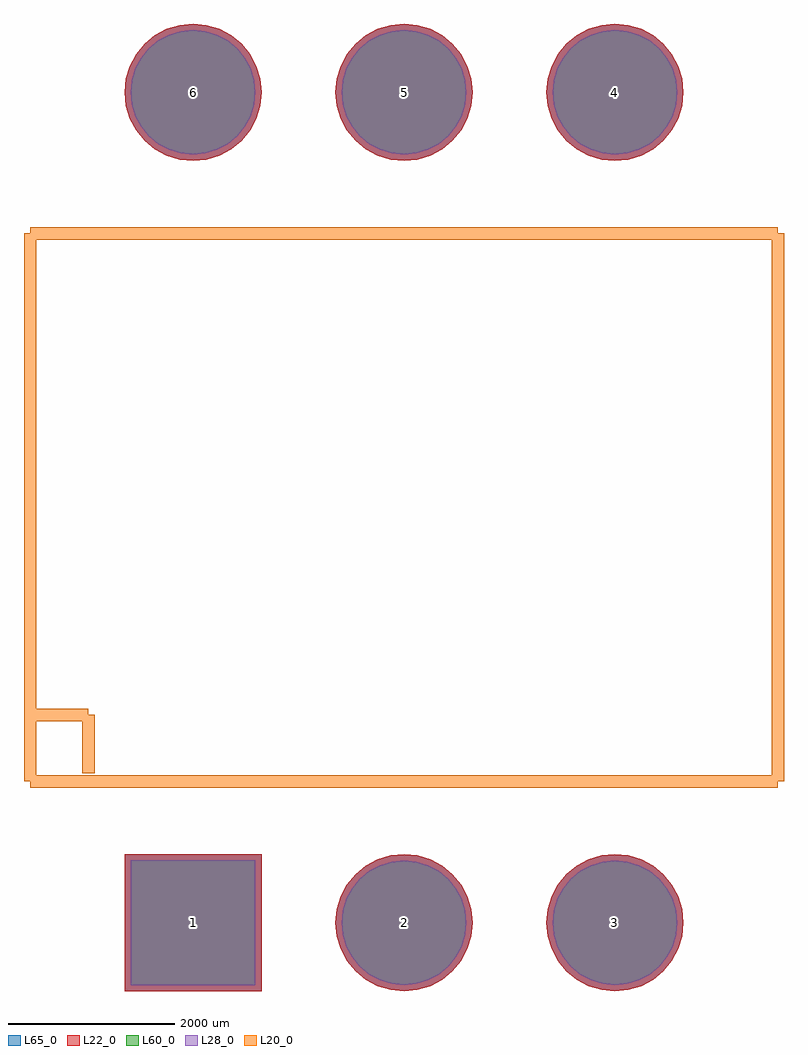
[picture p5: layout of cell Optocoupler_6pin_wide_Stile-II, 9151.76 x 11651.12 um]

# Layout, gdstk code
import gdstk
lib = gdstk.Library(unit=1e-6, precision=1e-09)
def R(c, l, rs):  # rectangles x0, y0, x1, y1
    for r in rs: c.add(gdstk.rectangle(r[:2], r[2:], *l))
def P(c, l, *ps):  # polygons
    for p in ps: c.add(gdstk.Polygon(p, *l))
L20_0 = (20, 0)
L22_0 = (22, 0)
L28_0 = (28, 0)
L60_0 = (60, 0)
L65_0 = (65, 0)

optocoupler_6pin_wide_st = lib.new_cell('Optocoupler_6pin_wide_Stile-II')
R(optocoupler_6pin_wide_st, L22_0, [(-3365.57,-5826.83,-1714.43,-4175.69)])
P(optocoupler_6pin_wide_st, L22_0, [(-1714.43,4998.72),(-1730.293,5159.781),(-1777.273,5314.652),(-1853.564,5457.382),(-1956.234,5582.486),(-2081.338,5685.156),(-2224.068,5761.447),(-2378.939,5808.427),(-2540,5824.29),(-2701.061,5808.427),(-2855.932,5761.447),(-2998.662,5685.156),(-3123.766,5582.486),(-3226.436,5457.382),(-3302.727,5314.652),(-3349.707,5159.781),(-3365.57,4998.72),(-3349.707,4837.659),(-3302.727,4682.788),(-3226.436,4540.058),(-3123.766,4414.954),(-2998.662,4312.284),(-2855.932,4235.993),(-2701.061,4189.013),(-2540,4173.15),(-2378.939,4189.013),(-2224.068,4235.993),(-2081.338,4312.284),(-1956.234,4414.954),(-1853.564,4540.058),(-1777.273,4682.788),(-1730.293,4837.659)],
  [(825.57,4998.72),(809.707,5159.781),(762.727,5314.652),(686.436,5457.382),(583.766,5582.486),(458.662,5685.156),(315.932,5761.447),(161.061,5808.427),(0,5824.29),(-161.061,5808.427),(-315.932,5761.447),(-458.662,5685.156),(-583.766,5582.486),(-686.436,5457.382),(-762.727,5314.652),(-809.707,5159.781),(-825.57,4998.72),(-809.707,4837.659),(-762.727,4682.788),(-686.436,4540.058),(-583.766,4414.954),(-458.662,4312.284),(-315.932,4235.993),(-161.061,4189.013),(0,4173.15),(161.061,4189.013),(315.932,4235.993),(458.662,4312.284),(583.766,4414.954),(686.436,4540.058),(762.727,4682.788),(809.707,4837.659)],
  [(3365.57,4998.72),(3349.707,5159.781),(3302.727,5314.652),(3226.436,5457.382),(3123.766,5582.486),(2998.662,5685.156),(2855.932,5761.447),(2701.061,5808.427),(2540,5824.29),(2378.939,5808.427),(2224.068,5761.447),(2081.338,5685.156),(1956.234,5582.486),(1853.564,5457.382),(1777.273,5314.652),(1730.293,5159.781),(1714.43,4998.72),(1730.293,4837.659),(1777.273,4682.788),(1853.564,4540.058),(1956.234,4414.954),(2081.338,4312.284),(2224.068,4235.993),(2378.939,4189.013),(2540,4173.15),(2701.061,4189.013),(2855.932,4235.993),(2998.662,4312.284),(3123.766,4414.954),(3226.436,4540.058),(3302.727,4682.788),(3349.707,4837.659)],
  [(3365.57,-5001.26),(3349.707,-4840.199),(3302.727,-4685.328),(3226.436,-4542.598),(3123.766,-4417.494),(2998.662,-4314.824),(2855.932,-4238.533),(2701.061,-4191.553),(2540,-4175.69),(2378.939,-4191.553),(2224.068,-4238.533),(2081.338,-4314.824),(1956.234,-4417.494),(1853.564,-4542.598),(1777.273,-4685.328),(1730.293,-4840.199),(1714.43,-5001.26),(1730.293,-5162.321),(1777.273,-5317.192),(1853.564,-5459.922),(1956.234,-5585.026),(2081.338,-5687.696),(2224.068,-5763.987),(2378.939,-5810.967),(2540,-5826.83),(2701.061,-5810.967),(2855.932,-5763.987),(2998.662,-5687.696),(3123.766,-5585.026),(3226.436,-5459.922),(3302.727,-5317.192),(3349.707,-5162.321)],
  [(825.57,-5001.26),(809.707,-4840.199),(762.727,-4685.328),(686.436,-4542.598),(583.766,-4417.494),(458.662,-4314.824),(315.932,-4238.533),(161.061,-4191.553),(0,-4175.69),(-161.061,-4191.553),(-315.932,-4238.533),(-458.662,-4314.824),(-583.766,-4417.494),(-686.436,-4542.598),(-762.727,-4685.328),(-809.707,-4840.199),(-825.57,-5001.26),(-809.707,-5162.321),(-762.727,-5317.192),(-686.436,-5459.922),(-583.766,-5585.026),(-458.662,-5687.696),(-315.932,-5763.987),(-161.061,-5810.967),(0,-5826.83),(161.061,-5810.967),(315.932,-5763.987),(458.662,-5687.696),(583.766,-5585.026),(686.436,-5459.922),(762.727,-5317.192),(809.707,-5162.321)])
R(optocoupler_6pin_wide_st, L28_0, [(-3290.57,-5751.83,-1789.43,-4250.69)])
P(optocoupler_6pin_wide_st, L28_0, [(-1789.43,4998.72),(-1803.852,5145.149),(-1846.564,5285.951),(-1915.924,5415.714),(-2009.267,5529.453),(-2123.006,5622.796),(-2252.769,5692.156),(-2393.571,5734.868),(-2540,5749.29),(-2686.429,5734.868),(-2827.231,5692.156),(-2956.994,5622.796),(-3070.733,5529.453),(-3164.076,5415.714),(-3233.436,5285.951),(-3276.148,5145.149),(-3290.57,4998.72),(-3276.148,4852.291),(-3233.436,4711.489),(-3164.076,4581.726),(-3070.733,4467.987),(-2956.994,4374.644),(-2827.231,4305.284),(-2686.429,4262.572),(-2540,4248.15),(-2393.571,4262.572),(-2252.769,4305.284),(-2123.006,4374.644),(-2009.267,4467.987),(-1915.924,4581.726),(-1846.564,4711.489),(-1803.852,4852.291)],
  [(750.57,4998.72),(736.148,5145.149),(693.436,5285.951),(624.076,5415.714),(530.733,5529.453),(416.994,5622.796),(287.231,5692.156),(146.429,5734.868),(0,5749.29),(-146.429,5734.868),(-287.231,5692.156),(-416.994,5622.796),(-530.733,5529.453),(-624.076,5415.714),(-693.436,5285.951),(-736.148,5145.149),(-750.57,4998.72),(-736.148,4852.291),(-693.436,4711.489),(-624.076,4581.726),(-530.733,4467.987),(-416.994,4374.644),(-287.231,4305.284),(-146.429,4262.572),(0,4248.15),(146.429,4262.572),(287.231,4305.284),(416.994,4374.644),(530.733,4467.987),(624.076,4581.726),(693.436,4711.489),(736.148,4852.291)],
  [(3290.57,4998.72),(3276.148,5145.149),(3233.436,5285.951),(3164.076,5415.714),(3070.733,5529.453),(2956.994,5622.796),(2827.231,5692.156),(2686.429,5734.868),(2540,5749.29),(2393.571,5734.868),(2252.769,5692.156),(2123.006,5622.796),(2009.267,5529.453),(1915.924,5415.714),(1846.564,5285.951),(1803.852,5145.149),(1789.43,4998.72),(1803.852,4852.291),(1846.564,4711.489),(1915.924,4581.726),(2009.267,4467.987),(2123.006,4374.644),(2252.769,4305.284),(2393.571,4262.572),(2540,4248.15),(2686.429,4262.572),(2827.231,4305.284),(2956.994,4374.644),(3070.733,4467.987),(3164.076,4581.726),(3233.436,4711.489),(3276.148,4852.291)],
  [(3290.57,-5001.26),(3276.148,-4854.831),(3233.436,-4714.029),(3164.076,-4584.266),(3070.733,-4470.527),(2956.994,-4377.184),(2827.231,-4307.824),(2686.429,-4265.112),(2540,-4250.69),(2393.571,-4265.112),(2252.769,-4307.824),(2123.006,-4377.184),(2009.267,-4470.527),(1915.924,-4584.266),(1846.564,-4714.029),(1803.852,-4854.831),(1789.43,-5001.26),(1803.852,-5147.689),(1846.564,-5288.491),(1915.924,-5418.254),(2009.267,-5531.993),(2123.006,-5625.336),(2252.769,-5694.696),(2393.571,-5737.408),(2540,-5751.83),(2686.429,-5737.408),(2827.231,-5694.696),(2956.994,-5625.336),(3070.733,-5531.993),(3164.076,-5418.254),(3233.436,-5288.491),(3276.148,-5147.689)],
  [(750.57,-5001.26),(736.148,-4854.831),(693.436,-4714.029),(624.076,-4584.266),(530.733,-4470.527),(416.994,-4377.184),(287.231,-4307.824),(146.429,-4265.112),(0,-4250.69),(-146.429,-4265.112),(-287.231,-4307.824),(-416.994,-4377.184),(-530.733,-4470.527),(-624.076,-4584.266),(-693.436,-4714.029),(-736.148,-4854.831),(-750.57,-5001.26),(-736.148,-5147.689),(-693.436,-5288.491),(-624.076,-5418.254),(-530.733,-5531.993),(-416.994,-5625.336),(-287.231,-5694.696),(-146.429,-5737.408),(0,-5751.83),(146.429,-5737.408),(287.231,-5694.696),(416.994,-5625.336),(530.733,-5531.993),(624.076,-5418.254),(693.436,-5288.491),(736.148,-5147.689)])
R(optocoupler_6pin_wide_st, L60_0, [(-3290.57,-5751.83,-1789.43,-4250.69)])
P(optocoupler_6pin_wide_st, L60_0, [(-1789.43,4998.72),(-1803.852,5145.149),(-1846.564,5285.951),(-1915.924,5415.714),(-2009.267,5529.453),(-2123.006,5622.796),(-2252.769,5692.156),(-2393.571,5734.868),(-2540,5749.29),(-2686.429,5734.868),(-2827.231,5692.156),(-2956.994,5622.796),(-3070.733,5529.453),(-3164.076,5415.714),(-3233.436,5285.951),(-3276.148,5145.149),(-3290.57,4998.72),(-3276.148,4852.291),(-3233.436,4711.489),(-3164.076,4581.726),(-3070.733,4467.987),(-2956.994,4374.644),(-2827.231,4305.284),(-2686.429,4262.572),(-2540,4248.15),(-2393.571,4262.572),(-2252.769,4305.284),(-2123.006,4374.644),(-2009.267,4467.987),(-1915.924,4581.726),(-1846.564,4711.489),(-1803.852,4852.291)],
  [(750.57,4998.72),(736.148,5145.149),(693.436,5285.951),(624.076,5415.714),(530.733,5529.453),(416.994,5622.796),(287.231,5692.156),(146.429,5734.868),(0,5749.29),(-146.429,5734.868),(-287.231,5692.156),(-416.994,5622.796),(-530.733,5529.453),(-624.076,5415.714),(-693.436,5285.951),(-736.148,5145.149),(-750.57,4998.72),(-736.148,4852.291),(-693.436,4711.489),(-624.076,4581.726),(-530.733,4467.987),(-416.994,4374.644),(-287.231,4305.284),(-146.429,4262.572),(0,4248.15),(146.429,4262.572),(287.231,4305.284),(416.994,4374.644),(530.733,4467.987),(624.076,4581.726),(693.436,4711.489),(736.148,4852.291)],
  [(3290.57,4998.72),(3276.148,5145.149),(3233.436,5285.951),(3164.076,5415.714),(3070.733,5529.453),(2956.994,5622.796),(2827.231,5692.156),(2686.429,5734.868),(2540,5749.29),(2393.571,5734.868),(2252.769,5692.156),(2123.006,5622.796),(2009.267,5529.453),(1915.924,5415.714),(1846.564,5285.951),(1803.852,5145.149),(1789.43,4998.72),(1803.852,4852.291),(1846.564,4711.489),(1915.924,4581.726),(2009.267,4467.987),(2123.006,4374.644),(2252.769,4305.284),(2393.571,4262.572),(2540,4248.15),(2686.429,4262.572),(2827.231,4305.284),(2956.994,4374.644),(3070.733,4467.987),(3164.076,4581.726),(3233.436,4711.489),(3276.148,4852.291)],
  [(3290.57,-5001.26),(3276.148,-4854.831),(3233.436,-4714.029),(3164.076,-4584.266),(3070.733,-4470.527),(2956.994,-4377.184),(2827.231,-4307.824),(2686.429,-4265.112),(2540,-4250.69),(2393.571,-4265.112),(2252.769,-4307.824),(2123.006,-4377.184),(2009.267,-4470.527),(1915.924,-4584.266),(1846.564,-4714.029),(1803.852,-4854.831),(1789.43,-5001.26),(1803.852,-5147.689),(1846.564,-5288.491),(1915.924,-5418.254),(2009.267,-5531.993),(2123.006,-5625.336),(2252.769,-5694.696),(2393.571,-5737.408),(2540,-5751.83),(2686.429,-5737.408),(2827.231,-5694.696),(2956.994,-5625.336),(3070.733,-5531.993),(3164.076,-5418.254),(3233.436,-5288.491),(3276.148,-5147.689)],
  [(750.57,-5001.26),(736.148,-4854.831),(693.436,-4714.029),(624.076,-4584.266),(530.733,-4470.527),(416.994,-4377.184),(287.231,-4307.824),(146.429,-4265.112),(0,-4250.69),(-146.429,-4265.112),(-287.231,-4307.824),(-416.994,-4377.184),(-530.733,-4470.527),(-624.076,-4584.266),(-693.436,-4714.029),(-736.148,-4854.831),(-750.57,-5001.26),(-736.148,-5147.689),(-693.436,-5288.491),(-624.076,-5418.254),(-530.733,-5531.993),(-416.994,-5625.336),(-287.231,-5694.696),(-146.429,-5737.408),(0,-5751.83),(146.429,-5737.408),(287.231,-5694.696),(416.994,-5625.336),(530.733,-5531.993),(624.076,-5418.254),(693.436,-5288.491),(736.148,-5147.689)])
R(optocoupler_6pin_wide_st, L65_0, [(-3365.57,-5826.83,-1714.43,-4175.69)])
P(optocoupler_6pin_wide_st, L65_0, [(-1714.43,4998.72),(-1730.293,5159.781),(-1777.273,5314.652),(-1853.564,5457.382),(-1956.234,5582.486),(-2081.338,5685.156),(-2224.068,5761.447),(-2378.939,5808.427),(-2540,5824.29),(-2701.061,5808.427),(-2855.932,5761.447),(-2998.662,5685.156),(-3123.766,5582.486),(-3226.436,5457.382),(-3302.727,5314.652),(-3349.707,5159.781),(-3365.57,4998.72),(-3349.707,4837.659),(-3302.727,4682.788),(-3226.436,4540.058),(-3123.766,4414.954),(-2998.662,4312.284),(-2855.932,4235.993),(-2701.061,4189.013),(-2540,4173.15),(-2378.939,4189.013),(-2224.068,4235.993),(-2081.338,4312.284),(-1956.234,4414.954),(-1853.564,4540.058),(-1777.273,4682.788),(-1730.293,4837.659)],
  [(825.57,4998.72),(809.707,5159.781),(762.727,5314.652),(686.436,5457.382),(583.766,5582.486),(458.662,5685.156),(315.932,5761.447),(161.061,5808.427),(0,5824.29),(-161.061,5808.427),(-315.932,5761.447),(-458.662,5685.156),(-583.766,5582.486),(-686.436,5457.382),(-762.727,5314.652),(-809.707,5159.781),(-825.57,4998.72),(-809.707,4837.659),(-762.727,4682.788),(-686.436,4540.058),(-583.766,4414.954),(-458.662,4312.284),(-315.932,4235.993),(-161.061,4189.013),(0,4173.15),(161.061,4189.013),(315.932,4235.993),(458.662,4312.284),(583.766,4414.954),(686.436,4540.058),(762.727,4682.788),(809.707,4837.659)],
  [(3365.57,4998.72),(3349.707,5159.781),(3302.727,5314.652),(3226.436,5457.382),(3123.766,5582.486),(2998.662,5685.156),(2855.932,5761.447),(2701.061,5808.427),(2540,5824.29),(2378.939,5808.427),(2224.068,5761.447),(2081.338,5685.156),(1956.234,5582.486),(1853.564,5457.382),(1777.273,5314.652),(1730.293,5159.781),(1714.43,4998.72),(1730.293,4837.659),(1777.273,4682.788),(1853.564,4540.058),(1956.234,4414.954),(2081.338,4312.284),(2224.068,4235.993),(2378.939,4189.013),(2540,4173.15),(2701.061,4189.013),(2855.932,4235.993),(2998.662,4312.284),(3123.766,4414.954),(3226.436,4540.058),(3302.727,4682.788),(3349.707,4837.659)],
  [(3365.57,-5001.26),(3349.707,-4840.199),(3302.727,-4685.328),(3226.436,-4542.598),(3123.766,-4417.494),(2998.662,-4314.824),(2855.932,-4238.533),(2701.061,-4191.553),(2540,-4175.69),(2378.939,-4191.553),(2224.068,-4238.533),(2081.338,-4314.824),(1956.234,-4417.494),(1853.564,-4542.598),(1777.273,-4685.328),(1730.293,-4840.199),(1714.43,-5001.26),(1730.293,-5162.321),(1777.273,-5317.192),(1853.564,-5459.922),(1956.234,-5585.026),(2081.338,-5687.696),(2224.068,-5763.987),(2378.939,-5810.967),(2540,-5826.83),(2701.061,-5810.967),(2855.932,-5763.987),(2998.662,-5687.696),(3123.766,-5585.026),(3226.436,-5459.922),(3302.727,-5317.192),(3349.707,-5162.321)],
  [(825.57,-5001.26),(809.707,-4840.199),(762.727,-4685.328),(686.436,-4542.598),(583.766,-4417.494),(458.662,-4314.824),(315.932,-4238.533),(161.061,-4191.553),(0,-4175.69),(-161.061,-4191.553),(-315.932,-4238.533),(-458.662,-4314.824),(-583.766,-4417.494),(-686.436,-4542.598),(-762.727,-4685.328),(-809.707,-4840.199),(-825.57,-5001.26),(-809.707,-5162.321),(-762.727,-5317.192),(-686.436,-5459.922),(-583.766,-5585.026),(-458.662,-5687.696),(-315.932,-5763.987),(-161.061,-5810.967),(0,-5826.83),(161.061,-5810.967),(315.932,-5763.987),(458.662,-5687.696),(583.766,-5585.026),(686.436,-5459.922),(762.727,-5317.192),(809.707,-5162.321)])
optocoupler_6pin_wide_st.add(gdstk.FlexPath([(-4500.88,-3299.46),(-4500.88,3299.46)], 149.998, ends="flush", simple_path=True, layer=20, datatype=0))  # L20_0
optocoupler_6pin_wide_st.add(gdstk.FlexPath([(4500.88,-3299.46),(-4500.88,-3299.46)], 149.998, ends="flush", simple_path=True, layer=20, datatype=0))  # L20_0
optocoupler_6pin_wide_st.add(gdstk.FlexPath([(4500.88,3299.46),(4500.88,-3299.46)], 149.998, ends="flush", simple_path=True, layer=20, datatype=0))  # L20_0
optocoupler_6pin_wide_st.add(gdstk.FlexPath([(-4500.88,3299.46),(4500.88,3299.46)], 149.998, ends="flush", simple_path=True, layer=20, datatype=0))  # L20_0
optocoupler_6pin_wide_st.add(gdstk.FlexPath([(-3799.84,-2499.36),(-3799.84,-3200.4)], 149.998, ends="flush", simple_path=True, layer=20, datatype=0))  # L20_0
optocoupler_6pin_wide_st.add(gdstk.FlexPath([(-4500.88,-2499.36),(-3799.84,-2499.36)], 149.998, ends="flush", simple_path=True, layer=20, datatype=0))  # L20_0
optocoupler_6pin_wide_st.add(gdstk.Label('6', (-2540,4998.72), layer=28, texttype=0))
optocoupler_6pin_wide_st.add(gdstk.Label('5', (0,4998.72), layer=28, texttype=0))
optocoupler_6pin_wide_st.add(gdstk.Label('4', (2540,4998.72), layer=28, texttype=0))
optocoupler_6pin_wide_st.add(gdstk.Label('3', (2540,-5001.26), layer=28, texttype=0))
optocoupler_6pin_wide_st.add(gdstk.Label('2', (0,-5001.26), layer=28, texttype=0))
optocoupler_6pin_wide_st.add(gdstk.Label('1', (-2540,-5001.26), layer=28, texttype=0))
optocoupler_6pin_wide_st.add(gdstk.Label('1', (-5080,-5080), layer=9, texttype=0))
optocoupler_6pin_wide_st.add(gdstk.Label('type', (0,-10160), layer=9, texttype=0))
optocoupler_6pin_wide_st.add(gdstk.Label('devicename', (0,10160), layer=9, texttype=0))

lib.write_gds('Optocoupler_6pin_wide_Stile-II.gds')
